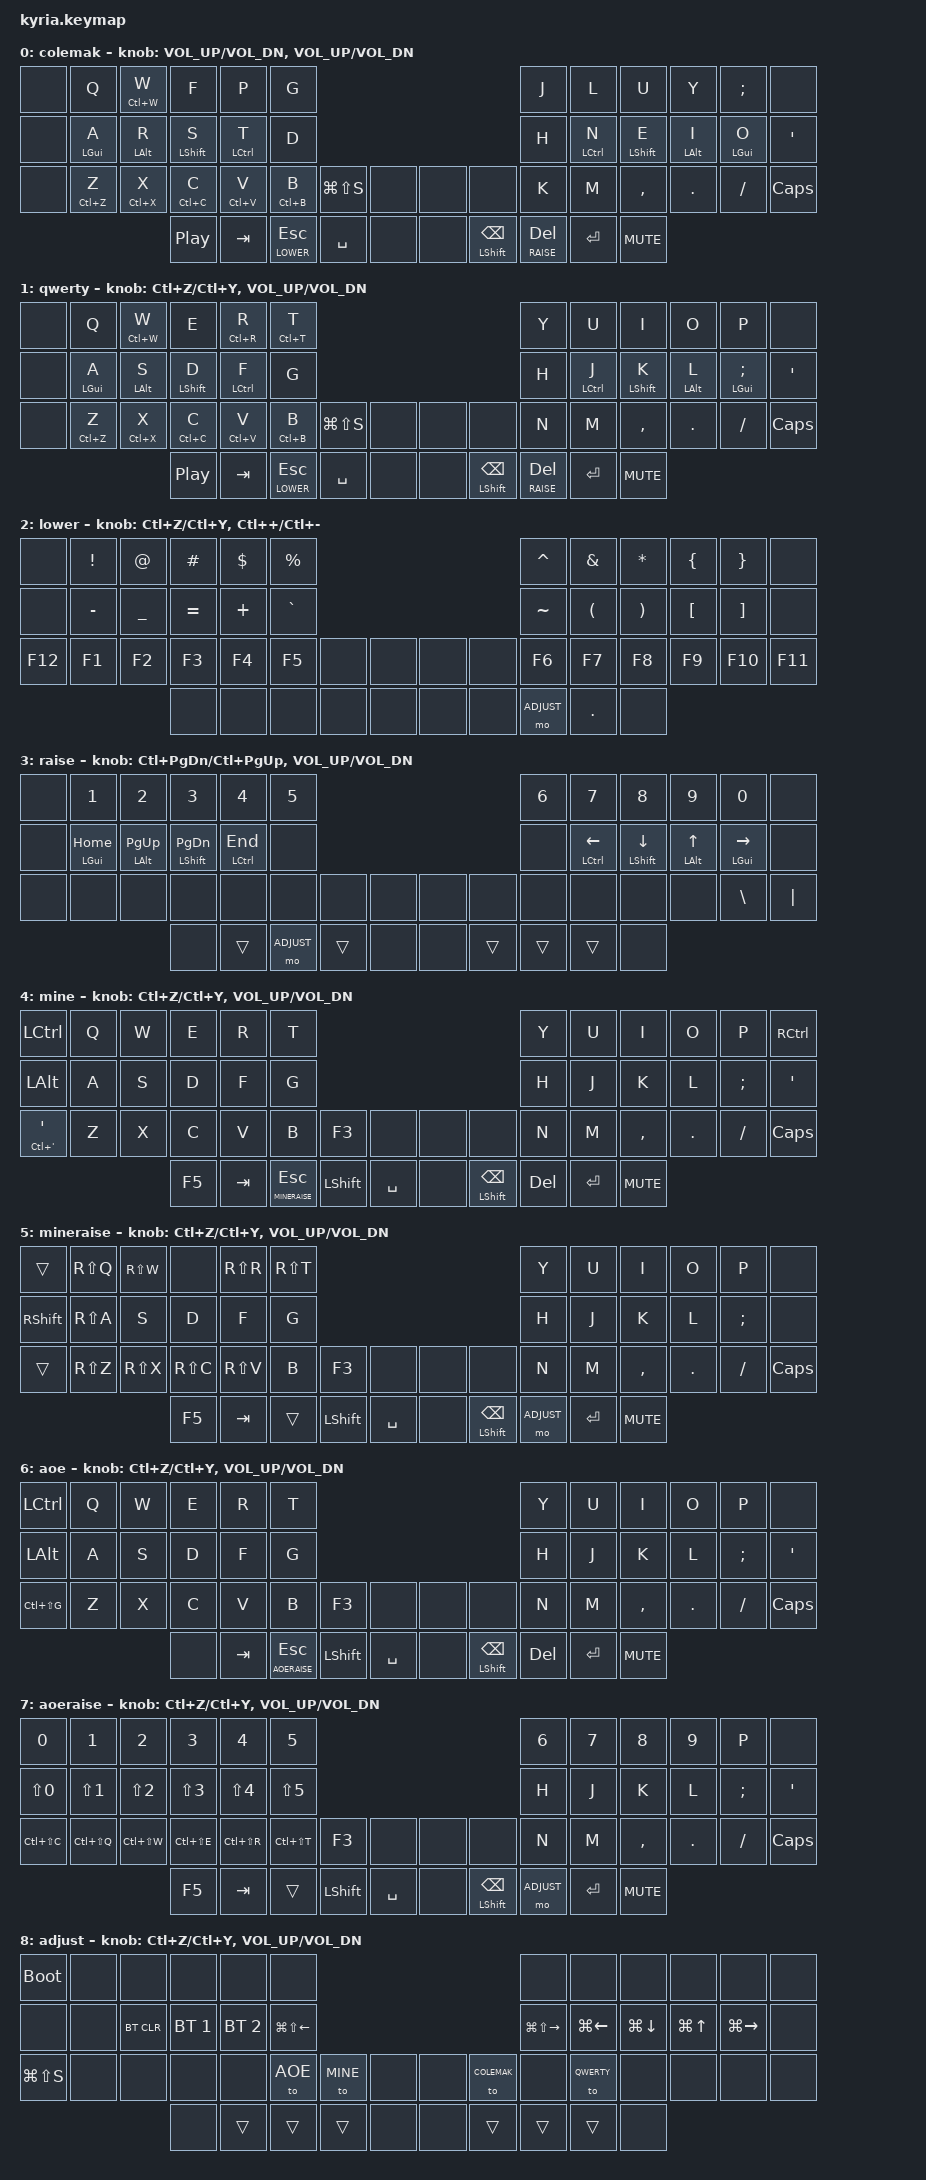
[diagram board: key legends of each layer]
/*
 * Copyright (c) 2020 The ZMK Contributors
 *
 * SPDX-License-Identifier: MIT
 */

#include <behaviors.dtsi>
#include <dt-bindings/zmk/keys.h>
#include <dt-bindings/zmk/bt.h>
#include <dt-bindings/zmk/outputs.h>


//Layer definitions
#define COLEMAK 0
#define QWERTY 1
#define LOWER 2
#define RAISE 3
#define MINE 4
#define MINERAISE 5
#define AOE 6
#define AOERAISE 7
#define ADJUST 8


/ {
    behaviors {
        mt_s: ctrl_shift {
            compatible = "zmk,behavior-hold-tap";
            label = "HOMEROW_MODS_CTRL_SHIFT";
            #binding-cells = <2>;
            tapping-term-ms = <180>;
            quick_tap_ms = <0>;
            flavor = "balanced";
            bindings = <&kp>, <&kp>;
        };
        mt_l: alt_gui {
            compatible = "zmk,behavior-hold-tap";
            label = "HOMEROW_MODS_ALT_GUI";
            #binding-cells = <2>;
            tapping-term-ms = <300>;
            quick_tap_ms = <0>;
            flavor = "tap-preferred";
            bindings = <&kp>, <&kp>;
        };
    };

    keymap {
        compatible = "zmk,keymap";

    
        colemak {
// ---------------------------------------------------------------------------------------------------------------------------------
// |       |  Q  |  W  |  F   |  P   |  G   |                                          |  J   |  L    |  U    |  Y   |   ;   |      |
// |       |  A  |  R  |  S   |  T   |  D   |                                          |  H   |  N    |  E    |  I   |   O   |   '  |
// |       |  Z  |  X  |  C   |  V   |  B   |         |                      |         |  K   |  M    |  ,    |  .   |   /   | CAPS |
//                     | PLAY | TAB  |LWRESC|  SPACE  |         |  |         |SHFT/BKSP|RSEDEL| ENTER | MUTE  |
            bindings = <
    &none   &kp Q           &mt_l LC(W) W   &kp F               &kp P           &kp G                               /**/                            &kp J           &kp L           &kp U           &kp Y        &kp SEMI       &none
    &none   &mt_l LGUI A    &mt_l LALT R    &mt_s LSHFT S       &mt_s LCTRL T   &kp D                               /**/                            &kp H           &mt_s LCTRL N   &mt_s LSHFT E   &mt_l LALT I &mt_l LGUI O   &kp SQT
    &none   &mt_l LC(Z) Z   &mt_l LC(X) X   &mt_l LC(C) C       &mt_l LC(V) V   &mt_l LC(B) B &kp LG(LS(S)) &none   /**/    &none	&none           &kp K           &kp M           &kp COMMA       &kp DOT      &kp FSLH       &kp CAPS
                                            &kp C_PLAY_PAUSE    &kp TAB         &lt LOWER ESC &kp SPACE     &none   /**/    &none   &mt LSHFT BSPC  &lt RAISE DEL   &kp ENTER       &kp C_MUTE
            >;

            sensor-bindings = <&inc_dec_kp C_VOL_UP C_VOL_DN &inc_dec_kp C_VOL_UP C_VOL_DN>;
        };

        qwerty {
// ---------------------------------------------------------------------------------------------------------------------------------
// |       |  Q  |  W  |  E   |  R   |  T   |                                          |  Y   |  U    |  I    |  O   |   P   |      |
// |       |  A  |  S  |  D   |  F   |  G   |                                          |  H   |  J    |  K    |  L   |   ;   |   '  |
// |       |  Z  |  X  |  C   |  V   |  B   |         |         |  |         |         |  N   |  M    |  ,    |  .   |   /   | CAPS |
//                     | PLAY | TAB  |LWRESC|  SPACE  |         |  |         |SHFT/BKSP|RSEDEL| ENTER | MUTE  |
            bindings = <
    &none   &kp Q           &mt_l LC(W) W   &kp E               &mt_l LC(R) R   &mt_l LC(T) T                       /**/                            &kp Y           &kp U           &kp I           &kp O        &kp P              &none
    &none   &mt_l LGUI A    &mt_l LALT S    &mt_s LSHFT D       &mt_s LCTRL F   &kp G                               /**/                            &kp H           &mt_s LCTRL J   &mt_s LSHFT K   &mt_l LALT L &mt_l LGUI SEMI    &kp SQT
    &none   &mt_l LC(Z) Z   &mt_l LC(X) X   &mt_l LC(C) C       &mt_l LC(V) V   &mt_l LC(B) B &kp LG(LS(S)) &none   /**/    &none   &none           &kp N           &kp M           &kp COMMA       &kp DOT      &kp FSLH           &kp CAPS
                                            &kp C_PLAY_PAUSE    &kp TAB         &lt LOWER ESC &kp SPACE     &none   /**/    &none   &mt LSHFT BSPC  &lt RAISE DEL   &kp ENTER       &kp C_MUTE
            >;

            sensor-bindings = <&inc_dec_kp LC(Z) LC(Y) &inc_dec_kp C_VOL_UP C_VOL_DN>;
        };

        lower {
// ---------------------------------------------------------------------------------------------------------------------------------
// |       |  !  |  @  |  #  |  $  |  %  |                                          |  ^  |  &  |  *  |  {   |  }  |      |
// |       |  -  |  _  |  =  |  +  |  `  |                                          |  ~  |  (  |  )  |  [   |  ]  |      |
// |  F12  |  F1 |  F2 |  F3 |  F4 |  F5 |         |                      |         |  F6 |  F7 |  F8 |  F9  |  F10|  F11 |
//                     |     |     |     |         |         |  |         |         | ADJ |     |     |
            bindings = <
    &none   &kp EXCL    &kp AT      &kp HASH    &kp DOLLAR  &kp PERCENT                 /**/                    &kp CARET   &kp AMPS    &kp STAR    &kp LBRC    &kp RBRC    &none
    &none   &kp MINUS   &kp UNDER   &kp EQUAL   &kp PLUS    &kp GRAVE                   /**/                    &kp TILDE   &kp LPAR    &kp RPAR    &kp LBKT    &kp RBKT    &none
    &kp F12 &kp F1	    &kp F2      &kp F3      &kp F4      &kp F5      &none   &none   /**/    &none   &none   &kp F6      &kp F7      &kp F8      &kp F9      &kp F10     &kp F11
                                    &none       &none       &none       &none   &none   /**/    &none   &none   &mo ADJUST  &kp DOT     &none
            >;

            sensor-bindings = <&inc_dec_kp LC(Z) LC(Y) &inc_dec_kp LC(PLUS) LC(MINUS)>;
        };

        raise {
// ---------------------------------------------------------------------------------------------------------------------------------
// |       |   1  |   2  |   3  |   4  |   5  |                                          |  6   |   7   |   8   |  9   |   0   |      |
// |       | HOME | PGUP | PGDN |  END |      |                                          |      |  LEFT |  DOWN |  UP  | RIGHT |      |
// |       |      |      |      |      |      |         |                      |         |      |       |       |      |   \   |  |   |
//                       |      |      |ADJUST|         |         |  |         |         |      |       |       |
            bindings = <
    &none   &kp N1          &kp N2              &kp N3              &kp N4          &kp N5                      /**/                    &kp N6      &kp N7              &kp N8              &kp N9          &kp N0              &none
    &none   &mt_l LGUI HOME &mt_l LALT PG_UP    &mt_s LSHFT PG_DN   &mt_s LCTRL END &none                       /**/                    &none       &mt_s LCTRL LEFT    &mt_s LSHFT DOWN    &mt_l LALT UP   &mt_l LGUI RIGHT    &none
    &none   &none           &none               &none               &none           &none       &none   &none   /**/    &none   &none   &none       &none               &none               &none           &kp BSLH            &kp PIPE
                                                &none               &trans          &mo ADJUST  &trans  &none   /**/    &none   &trans  &trans      &trans              &none
            >;

            sensor-bindings = <&inc_dec_kp LC(PG_DN) LC(PG_UP) &inc_dec_kp C_VOL_UP C_VOL_DN>;
        };

        mine {
// ---------------------------------------------------------------------------------------------------------------------------------
// | LCTRL |  Q  |  W  |  E   |  R   |  T   |                                          |  Y   |  U    |  I    |  O   |   P   | RCTRL|
// |       |  A  |  S  |  D   |  F   |  G   |                                          |  H   |  J    |  K    |  L   |   ;   |   '  |
// |       |  Z  |  X  |  C   |  V   |  B   |    F3   |         |  |         |         |  N   |  M    |  ,    |  .   |   /   | CAPS |
//                     |  F5  | TAB  |MR/ESC|  SHIFT  |  SPACE  |  |         |SHFT/BKSP|  DEL | ENTER | MUTE  |
// https://minecraft.fandom.com/wiki/Controls
            bindings = <
    &kp LCTRL       &kp Q   &kp W   &kp E   &kp R   &kp T                               /**/                            &kp Y   &kp U       &kp I       &kp O   &kp P       &kp RCTRL
    &kp LALT        &kp A   &kp S   &kp D   &kp F   &kp G                               /**/                            &kp H   &kp J       &kp K       &kp L   &kp SEMI    &kp SQT
    &mt LC(SQT) SQT &kp Z   &kp X   &kp C   &kp V   &kp B       &kp F3      &none       /**/    &none   &none           &kp N   &kp M       &kp COMMA   &kp DOT &kp FSLH    &kp CAPS
                            &kp F5  &kp TAB &lt MINERAISE ESC   &kp LSHFT   &kp SPACE   /**/    &none   &mt LSHFT BSPC  &kp DEL	&kp ENTER   &kp C_MUTE
            >;

            sensor-bindings = <&inc_dec_kp LC(Z) LC(Y) &inc_dec_kp C_VOL_UP C_VOL_DN>;
        };

        mineraise {
// ---------------------------------------------------------------------------------------------------------------------------------
// | LCTRL |  Q  |  W  |  E   |  R   |  T   |                                          |  Y   |  U    |  I    |  O   |   P   |      |
// |       |  A  |  S  |  D   |  F   |  G   |                                          |  H   |  J    |  K    |  L   |   ;   |   '  |
// |       |  Z  |  X  |  C   |  V   |  B   |    F3   |         |  |         |         |  N   |  M    |  ,    |  .   |   /   | CAPS |
//                     |  F5  | TAB  |MR/ESC|  SHIFT  |  SPACE  |  |         |SHFT/BKSP|  DEL | ENTER | MUTE  |
// https://minecraft.fandom.com/wiki/Controls
            bindings = <
    &trans		&kp RS(Q)	&kp RS(W)   &none   	&kp RS(R)   &kp RS(T)						/**/                            &kp Y       &kp U       &kp I       &kp O   &kp P       &none
    &kp RSHFT	&kp RS(A)	&kp S   	&kp D   	&kp F   	&kp G                           /**/                            &kp H       &kp J       &kp K       &kp L   &kp SEMI    &none
    &trans 		&kp RS(Z)   &kp RS(X)   &kp RS(C)   &kp RS(V)   &kp B	&kp F3      &none       /**/    &none   &none           &kp N       &kp M       &kp COMMA   &kp DOT &kp FSLH    &kp CAPS
                                    	&kp F5  	&kp TAB		&trans  &kp LSHFT   &kp SPACE   /**/    &none   &mt LSHFT BSPC  &mo ADJUST	&kp ENTER   &kp C_MUTE
            >;

            sensor-bindings = <&inc_dec_kp LC(Z) LC(Y) &inc_dec_kp C_VOL_UP C_VOL_DN>;
        };

        aoe {
// ---------------------------------------------------------------------------------------------------------------------------------
// | LCTRL |  Q  |  W  |  E   |  R   |  T   |                                          |  Y   |  U    |  I    |  O   |   P   |      |
// |       |  A  |  S  |  D   |  F   |  G   |                                          |  H   |  J    |  K    |  L   |   ;   |   '  |
// |S(C(G))|  Z  |  X  |  C   |  V   |  B   |    F3   |         |  |         |         |  N   |  M    |  ,    |  .   |   /   | CAPS |
//                     |  F5  | TAB  |MR/ESC|  SHIFT  |  SPACE  |  |         |SHFT/BKSP|  DEL | ENTER | MUTE  |
            bindings = <
    &kp LCTRL       &kp Q   &kp W   &kp E   &kp R   &kp T                                       /**/                            &kp Y   &kp U       &kp I       &kp O   &kp P       &none
    &kp LALT        &kp A   &kp S   &kp D   &kp F   &kp G                                       /**/                            &kp H   &kp J       &kp K       &kp L   &kp SEMI    &kp SQT
    &kp LC(LS(G))   &kp Z   &kp X   &kp C   &kp V   &kp B               &kp F3      &none       /**/    &none   &none           &kp N   &kp M       &kp COMMA   &kp DOT &kp FSLH    &kp CAPS
                                    &none   &kp TAB &lt AOERAISE ESC    &kp LSHFT   &kp SPACE   /**/    &none   &mt LSHFT BSPC  &kp DEL	&kp ENTER   &kp C_MUTE
            >;

            sensor-bindings = <&inc_dec_kp LC(Z) LC(Y) &inc_dec_kp C_VOL_UP C_VOL_DN>;
        };

        aoeraise {
// ---------------------------------------------------------------------------------------------------------------------------------
// |   0   |  1   |  2   |  3   |  4   |  5   |                                          |  6   |  7    |  8    |  9   |   P   |      |
// | LS(0) |LS(1) |LS(2) |LS(3) |LS(4) |LS(5) |                                          |  H   |  J    |  K    |  L   |   ;   |   '  |
// |       |C(S(Q)|C(S(W)|C(S(E)|C(S(R)|C(S(T)|    F3   |         |  |         |         |  N   |  M    |  ,    |  .   |   /   | CAPS |
//                       |  F5  | TAB  |MR/ESC|  SHIFT  |  SPACE  |  |         |SHFT/BKSP|  ADJ | ENTER | MUTE  |
            bindings = <
    &kp N0          &kp N1          &kp N2          &kp N3          &kp N4          &kp N5                                  /**/                            &kp N6      &kp N7      &kp N8      &kp N9  &kp P       &none
    &kp LS(N0)      &kp LS(N1)      &kp LS(N2)      &kp LS(N3)      &kp LS(N4)      &kp LS(N5)                              /**/                            &kp H       &kp J       &kp K       &kp L   &kp SEMI    &kp SQT
    &kp LC(LS(C))   &kp LC(LS(Q))   &kp LC(LS(W))   &kp LC(LS(E))   &kp LC(LS(R))   &kp LC(LS(T))   &kp F3      &none       /**/    &none   &none           &kp N       &kp M       &kp COMMA   &kp DOT &kp FSLH    &kp CAPS
                                                    &kp F5          &kp TAB         &trans          &kp LSHFT   &kp SPACE   /**/    &none   &mt LSHFT BSPC  &mo ADJUST	&kp ENTER   &kp C_MUTE
            >;

            sensor-bindings = <&inc_dec_kp LC(Z) LC(Y) &inc_dec_kp C_VOL_UP C_VOL_DN>;
        };

        adjust {
// ---------------------------------------------------------------------------------------------------------------------------------
// | RESET |     |     |      |     |      |                                          |      |       |       |      |       |      |
// |       |     |BTCLR| BT1  | BT2 | SG(L)|                                          | SG(R)| GUI(L)| GUI(D)|GUI(U)| GUI(R)|      |
// | SG(S) |     |     |      | AOE |      |   MINE  |                      | COLEMAK |      | QWERTY|       |      |       |      |
//                     |      |     |      |         |         |  |         |         |      |       |       |
            bindings = <
    &bootloader	    &none	&none       &none           &none           &none              			            /**/                        &none   	        &none           &none	        &none       &none	        &none
    &none           &none	&bt BT_CLR  &bt BT_SEL 1    &bt BT_SEL 2   	&kp LG(LS(LEFT))                        /**/                        &kp LG(LS(RIGHT))   &kp LG(LEFT)	&kp LG(DOWN)    &kp LG(UP)	&kp LG(RIGHT)	&none
    &kp LG(LS(S))   &none	&none	    &none           &none   	    &to AOE             &to MINE    &none	/**/	&none	&to COLEMAK &none	            &to QWERTY	    &none	        &none	    &none	        &none
                                        &none           &trans          &trans		        &trans 	    &none   /**/    &none   &trans 	    &trans              &trans          &none
            >;

            sensor-bindings = <&inc_dec_kp LC(Z) LC(Y) &inc_dec_kp C_VOL_UP C_VOL_DN>;
        };
    };
};
